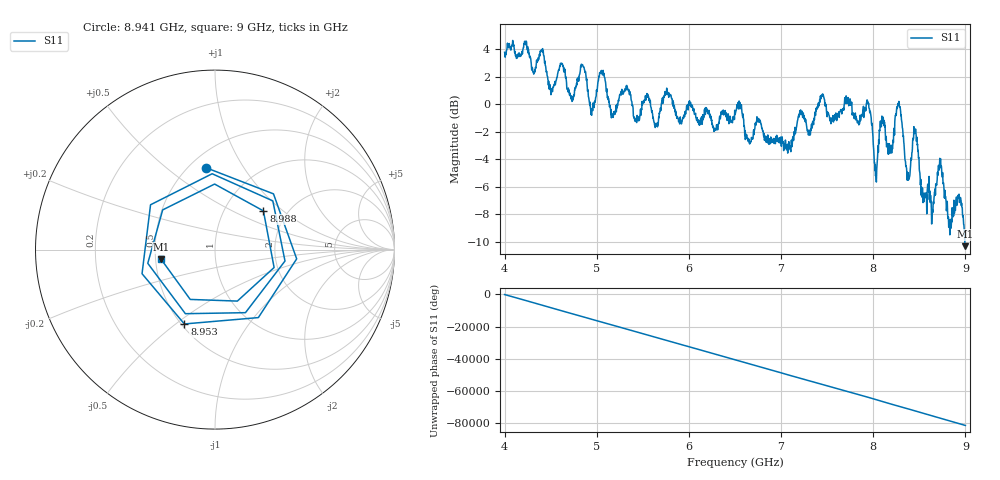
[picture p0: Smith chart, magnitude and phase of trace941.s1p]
! Created with skrf 1.8.0 (http://scikit-rf.org).
# Hz S RI R 50.0
!freq ReS11 ImS11
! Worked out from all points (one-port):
!   1601 points, 4 GHz to 9 GHz, reference 50 ohm
!   lowest |S11| = -10.3 dB at 9 GHz (marker M1), VSWR 1.88, Z = 26.8 - j3.2 ohm
!   |S11| at or under -10 dB: 8.993656 GHz to end of sweep
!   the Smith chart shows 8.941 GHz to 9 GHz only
!   S11 on the Smith chart (normalised r, x): 8.941 GHz: 0.60, +0.70; 8.953 GHz: 0.52, -0.54; 8.988 GHz: 1.52, +0.74; 9 GHz: 0.54, -0.06
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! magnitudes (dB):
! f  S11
! 4 GHz  3.8
! 4.403 GHz  3.9
! 4.506 GHz  1.0
! 4.625 GHz  2.9
! 4.731 GHz  0.2
! 4.853 GHz  2.7
! 4.947 GHz  -0.3
! 5.053 GHz  2.5
! 5.169 GHz  -0.7
! 5.25 GHz  0.7
! 5.875 GHz  -0.9
! 6.5 GHz  -0.7
! 7.125 GHz  -2.4
! 7.75 GHz  0.4
! 7.95 GHz  0.1
! 8.031 GHz  -5.4
! 8.091 GHz  -1.3
! 8.184 GHz  -3.5
! 8.278 GHz  0.2
! 8.375 GHz  -5.3
! 8.453 GHz  -2.0
! 8.544 GHz  -6.9
! 8.722 GHz  -3.9
! 8.828 GHz  -8.6
! 8.941 GHz  -6.8
! 8.953 GHz  -7.0
! 8.988 GHz  -9.2
! 9 GHz  -10.3
